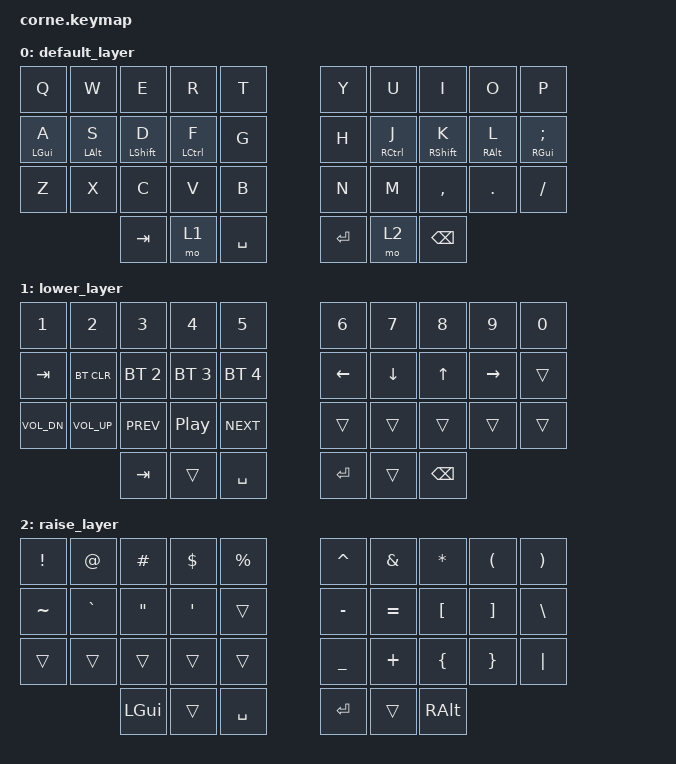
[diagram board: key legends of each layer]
/*
 * Copyright (c) 2020 The ZMK Contributors
 *
 * SPDX-License-Identifier: MIT
 */

#include <behaviors.dtsi>
#include <dt-bindings/zmk/bt.h>
#include <dt-bindings/zmk/keys.h>

/ {
    chosen {
        zmk,matrix_transform = &five_column_transform;
    };

    combos {
        compatible = "zmk,combos";

        Escape {
            bindings = <&kp ESC>;
            key-positions = <0 1>;
        };

        Backspace {
            bindings = <&kp BSPC>;
            key-positions = <8 9>;
        };
    };

    behaviors {
        HML: HML {
            compatible = "zmk,behavior-hold-tap";
            label = "HML";
            bindings = <&kp>, <&kp>;

            #binding-cells = <2>;
            tapping-term-ms = <280>;
            quick-tap-ms = <150>;
            flavor = "tap-preferred";
            hold-trigger-on-release;
            hold-trigger-key-positions = <5 6 7 8 9 15 16 17 18 19 25 26 27 28 29>;
            require-prior-idle-ms = <115>;
        };

        HMR: HMR {
            compatible = "zmk,behavior-hold-tap";
            label = "HMR";
            bindings = <&kp>, <&kp>;

            #binding-cells = <2>;
            tapping-term-ms = <280>;
            quick-tap-ms = <150>;
            flavor = "tap-preferred";
            hold-trigger-on-release;
            hold-trigger-key-positions = <0 1 2 3 4 10 11 12 13 14 20 21 22 23 24>;
            require-prior-idle-ms = <115>;
        };
    };

    keymap {
        compatible = "zmk,keymap";

        default_layer {
            // -----------------------------------------------------------------------------------------
            // |  Q  |  W  |  E  |  R  |  T  |   |  Y  |  U   |  I  |  O  |  P  |
            // |  A  |  S  |  D  |  F  |  G  |   |  H  |  J   |  K  |  L  |  ;  |
            // |  Z  |  X  |  C  |  V  |  B  |   |  N  |  M   |  ,  |  .  |  /  |
            //              | TAB | LWR | SPC |   | ENT | RSE  | BSPC |

            bindings = <
&kp Q            &kp W            &kp E         &kp R                &kp T        &kp Y    &kp U                 &kp I         &kp O             &kp P
&HML LEFT_GUI A  &HML LEFT_ALT S  &HML LSHFT D  &HML LEFT_CONTROL F  &kp G        &kp H    &HMR RIGHT_CONTROL J  &HMR RSHFT K  &HMR RIGHT_ALT L  &HMR RIGHT_GUI SEMICOLON
&kp Z            &kp X            &kp C         &kp V                &kp B        &kp N    &kp M                 &kp COMMA     &kp DOT           &kp FSLH
                                  &kp TAB       &mo 1                &kp SPACE    &kp RET  &mo 2                 &kp BSPC
            >;
        };

        lower_layer {
            // -----------------------------------------------------------------------------------------
            // |  1  |  2  |  3  |  4  |  5  |   |  6  |  7  |  8  |  9  |  0  |
            // | TAB |BTCLR| BT2 | BT3 | BT4 |   | LFT | DWN |  UP | RGT |     |
            // | VOL-| VOL+| PREV| PLAY| NEXT|   |     |     |     |     |     |
            //              | TAB |     | SPC |   | ENT |     | BSPC |

            bindings = <
&kp N1        &kp N2        &kp N3        &kp N4        &kp N5          &kp N6    &kp N7    &kp N8    &kp N9     &kp N0
&kp TAB       &bt BT_CLR    &bt BT_SEL 2  &bt BT_SEL 3  &bt BT_SEL 4    &kp LEFT  &kp DOWN  &kp UP    &kp RIGHT  &trans
&kp C_VOL_DN  &kp C_VOL_UP  &kp C_PREV    &kp C_PP      &kp C_NEXT      &trans    &trans    &trans    &trans     &trans
                          &kp TAB       &trans        &kp SPACE       &kp RET   &trans    &kp BSPC
            >;
        };

        raise_layer {
            // -----------------------------------------------------------------------------------------
            // |  !  |  @  |  #  |  $  |  %  |   |  ^  |  &  |  *  |  (  |  )  |
            // |  ~  |  `  |  "  |  '  |     |   |  -  |  =  |  [  |  ]  |  \  |
            // |     |     |     |     |     |   |  _  |  +  |  {  |  }  | "|" |
            //              | GUI |     | SPC |   | ENT |     | ALT |

            bindings = <
&kp EXCL  &kp AT  &kp HASH  &kp DLLR  &kp PRCNT    &kp CARET  &kp AMPS   &kp ASTRK  &kp LPAR  &kp RPAR
&kp TILDE &kp GRAVE &kp DQT  &kp SQT   &trans       &kp MINUS  &kp EQUAL  &kp LBKT   &kp RBKT  &kp BSLH
&trans    &trans  &trans    &trans    &trans       &kp UNDER  &kp PLUS   &kp LBRC   &kp RBRC  &kp PIPE
                    &kp LGUI  &trans    &kp SPACE    &kp RET    &trans     &kp RALT
            >;
        };
    };
};
